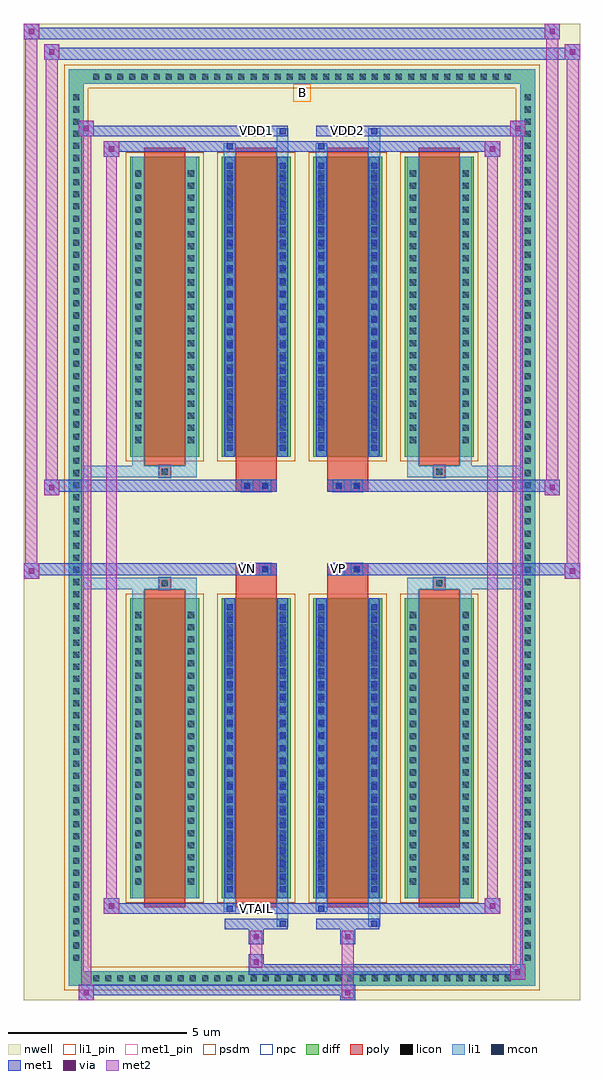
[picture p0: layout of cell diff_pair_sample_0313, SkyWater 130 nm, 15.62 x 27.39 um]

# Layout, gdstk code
import gdstk
lib = gdstk.Library(unit=1e-6, precision=5e-09)
def R(c, l, rs):  # rectangles x0, y0, x1, y1
    for r in rs: c.add(gdstk.rectangle(r[:2], r[2:], *l))
def A(c, l, x, y, w, h, nx, ny, dx, dy):  # array of equal rectangles
    R(c, l, [(x+i*dx, y+j*dy, x+i*dx+w, y+j*dy+h) for i in range(nx) for j in range(ny)])
def P(c, l, *ps):  # polygons
    for p in ps: c.add(gdstk.Polygon(p, *l))
nwell = (64, 20)
diff = (65, 20)
poly = (66, 20)
licon = (66, 44)
li1_pin = (67, 16)
li1 = (67, 20)
mcon = (67, 44)
met1_pin = (68, 16)
met1 = (68, 20)
via = (68, 44)
met2 = (69, 20)
psdm = (94, 20)
npc = (95, 20)

diff_pair_sample_0313 = lib.new_cell('diff_pair_sample_0313')
R(diff_pair_sample_0313, nwell, [(-7.81,-13.26,7.81,14.13), (-5.13,-11.45,-0.01,-0.805), (0.01,-11.45,5.13,-0.805), (-5.13,0.805,-0.01,11.45), (0.01,0.805,5.13,11.45)])
A(diff_pair_sample_0313, diff, -5.985, -12.86, 0.41, 0.41, 35, 2, 0.34, 25.31)
A(diff_pair_sample_0313, diff, -6.54, -12.275, 0.41, 0.41, 1, 72, 0, 0.34)
A(diff_pair_sample_0313, diff, 6.13, -12.275, 0.41, 0.41, 1, 72, 0, 0.34)
A(diff_pair_sample_0313, diff, -4.82, -10.405, 1.93, 8.42, 4, 2, 2.57, 12.39)
R(diff_pair_sample_0313, diff, [(-5.985,-12.86,5.985,-12.45), (-6.54,-12.275,-6.13,12.275), (6.13,-12.275,6.54,12.275), (-5.985,12.45,5.985,12.86)])
P(diff_pair_sample_0313, diff, [(6.54,12.86),(-6.54,12.86),(-6.54,-12.45),(-6.13,-12.45),(-6.13,12.45),(6.13,12.45),(6.13,-12.45),(-6.13,-12.45),(-6.54,-12.45),(-6.54,-12.86),(6.54,-12.86)])
A(diff_pair_sample_0313, poly, -4.43, -10.655, 1.15, 8.92, 4, 2, 2.57, 12.39)
R(diff_pair_sample_0313, poly, [(-4.02,-1.735,-3.69,-1.405), (-4.02,-1.735,-3.69,-1.405), (-1.86,-1.735,-0.71,-1.335), (0.71,-1.735,1.86,-1.335), (3.69,-1.735,4.02,-1.405), (3.69,-1.735,4.02,-1.405), (-1.86,-1.335,-0.71,-1.005), (-1.7,-1.335,-1.37,-1.005), (-1.2,-1.335,-0.87,-1.005), (0.71,-1.335,1.86,-1.005), (0.87,-1.335,1.2,-1.005), (1.37,-1.335,1.7,-1.005), (-1.86,1.005,-0.71,1.335), (-1.7,1.005,-1.37,1.335), (-1.2,1.005,-0.87,1.335), (0.71,1.005,1.86,1.335), (0.87,1.005,1.2,1.335), (1.37,1.005,1.7,1.335), (-1.86,1.335,-0.71,1.735), (0.71,1.335,1.86,1.735), (-4.02,1.405,-3.69,1.735), (-4.02,1.405,-3.69,1.735), (3.69,1.405,4.02,1.735), (3.69,1.405,4.02,1.735)])
A(diff_pair_sample_0313, licon, -5.865, -12.74, 0.17, 0.17, 35, 2, 0.34, 25.31)
A(diff_pair_sample_0313, licon, -6.42, -12.155, 0.17, 0.17, 1, 72, 0, 0.34)
A(diff_pair_sample_0313, licon, 6.25, -12.155, 0.17, 0.17, 1, 72, 0, 0.34)
A(diff_pair_sample_0313, licon, -4.68, -10.02, 0.17, 0.17, 1, 23, 0, 0.34)
A(diff_pair_sample_0313, licon, -3.2, -10.02, 0.17, 0.17, 1, 23, 0, 0.34)
A(diff_pair_sample_0313, licon, -2.11, -10.02, 0.17, 0.17, 1, 23, 0, 0.34)
A(diff_pair_sample_0313, licon, -0.63, -10.02, 0.17, 0.17, 1, 23, 0, 0.34)
A(diff_pair_sample_0313, licon, 0.46, -10.02, 0.17, 0.17, 1, 23, 0, 0.34)
A(diff_pair_sample_0313, licon, 1.94, -10.02, 0.17, 0.17, 1, 23, 0, 0.34)
A(diff_pair_sample_0313, licon, 3.03, -10.02, 0.17, 0.17, 1, 23, 0, 0.34)
A(diff_pair_sample_0313, licon, 4.51, -10.02, 0.17, 0.17, 1, 23, 0, 0.34)
A(diff_pair_sample_0313, licon, -4.68, 2.37, 0.17, 0.17, 1, 23, 0, 0.34)
A(diff_pair_sample_0313, licon, -3.2, 2.37, 0.17, 0.17, 1, 23, 0, 0.34)
A(diff_pair_sample_0313, licon, -2.11, 2.37, 0.17, 0.17, 1, 23, 0, 0.34)
A(diff_pair_sample_0313, licon, -0.63, 2.37, 0.17, 0.17, 1, 23, 0, 0.34)
A(diff_pair_sample_0313, licon, 0.46, 2.37, 0.17, 0.17, 1, 23, 0, 0.34)
A(diff_pair_sample_0313, licon, 1.94, 2.37, 0.17, 0.17, 1, 23, 0, 0.34)
A(diff_pair_sample_0313, licon, 3.03, 2.37, 0.17, 0.17, 1, 23, 0, 0.34)
A(diff_pair_sample_0313, licon, 4.51, 2.37, 0.17, 0.17, 1, 23, 0, 0.34)
R(diff_pair_sample_0313, licon, [(-3.94,-1.655,-3.77,-1.485), (3.77,-1.655,3.94,-1.485), (-1.62,-1.255,-1.45,-1.085), (-1.12,-1.255,-0.95,-1.085), (0.95,-1.255,1.12,-1.085), (1.45,-1.255,1.62,-1.085), (-1.62,1.085,-1.45,1.255), (-1.12,1.085,-0.95,1.255), (0.95,1.085,1.12,1.255), (1.45,1.085,1.62,1.255), (-3.94,1.485,-3.77,1.655), (3.77,1.485,3.94,1.655)])
R(diff_pair_sample_0313, li1_pin, [(-0.25,11.95,0.25,12.45)])
A(diff_pair_sample_0313, li1, -5.945, -12.82, 0.33, 0.33, 35, 2, 0.34, 25.31)
A(diff_pair_sample_0313, li1, -6.5, -12.235, 0.33, 0.33, 1, 72, 0, 0.34)
A(diff_pair_sample_0313, li1, 6.17, -12.235, 0.33, 0.33, 1, 72, 0, 0.34)
A(diff_pair_sample_0313, li1, -2.11, -10.24, 0.17, 0.17, 1, 23, 0, 0.36)
A(diff_pair_sample_0313, li1, -0.63, -10.24, 0.17, 0.17, 1, 23, 0, 0.36)
A(diff_pair_sample_0313, li1, 0.46, -10.24, 0.17, 0.17, 1, 23, 0, 0.36)
A(diff_pair_sample_0313, li1, 1.94, -10.24, 0.17, 0.17, 1, 23, 0, 0.36)
A(diff_pair_sample_0313, li1, -4.76, -10.1, 0.33, 0.33, 1, 23, 0, 0.34)
A(diff_pair_sample_0313, li1, -3.28, -10.1, 0.33, 0.33, 1, 23, 0, 0.34)
A(diff_pair_sample_0313, li1, -2.19, -10.1, 0.33, 0.33, 1, 23, 0, 0.34)
A(diff_pair_sample_0313, li1, -0.71, -10.1, 0.33, 0.33, 1, 23, 0, 0.34)
A(diff_pair_sample_0313, li1, 0.38, -10.1, 0.33, 0.33, 1, 23, 0, 0.34)
A(diff_pair_sample_0313, li1, 1.86, -10.1, 0.33, 0.33, 1, 23, 0, 0.34)
A(diff_pair_sample_0313, li1, 2.95, -10.1, 0.33, 0.33, 1, 23, 0, 0.34)
A(diff_pair_sample_0313, li1, 4.43, -10.1, 0.33, 0.33, 1, 23, 0, 0.34)
A(diff_pair_sample_0313, li1, -2.11, 2.15, 0.17, 0.17, 1, 23, 0, 0.36)
A(diff_pair_sample_0313, li1, -0.63, 2.15, 0.17, 0.17, 1, 23, 0, 0.36)
A(diff_pair_sample_0313, li1, 0.46, 2.15, 0.17, 0.17, 1, 23, 0, 0.36)
A(diff_pair_sample_0313, li1, 1.94, 2.15, 0.17, 0.17, 1, 23, 0, 0.36)
A(diff_pair_sample_0313, li1, -4.76, 2.29, 0.33, 0.33, 1, 23, 0, 0.34)
A(diff_pair_sample_0313, li1, -3.28, 2.29, 0.33, 0.33, 1, 23, 0, 0.34)
A(diff_pair_sample_0313, li1, -2.19, 2.29, 0.33, 0.33, 1, 23, 0, 0.34)
A(diff_pair_sample_0313, li1, -0.71, 2.29, 0.33, 0.33, 1, 23, 0, 0.34)
A(diff_pair_sample_0313, li1, 0.38, 2.29, 0.33, 0.33, 1, 23, 0, 0.34)
A(diff_pair_sample_0313, li1, 1.86, 2.29, 0.33, 0.33, 1, 23, 0, 0.34)
A(diff_pair_sample_0313, li1, 2.95, 2.29, 0.33, 0.33, 1, 23, 0, 0.34)
A(diff_pair_sample_0313, li1, 4.43, 2.29, 0.33, 0.33, 1, 23, 0, 0.34)
R(diff_pair_sample_0313, li1, [(-6.54,-12.86,-6.13,-12.45), (-6.54,-12.86,-6.13,-12.45), (-6.13,-12.86,6.13,-12.45), (6.13,-12.86,6.54,-12.45), (6.13,-12.86,6.54,-12.45), (-6.54,-12.45,-6.13,12.45), (6.13,-12.45,6.54,12.45), (-0.71,-11.21,-0.38,-10.405), (-0.63,-11.21,-0.46,-11.04), (1.86,-11.21,2.19,-10.405), (1.94,-11.21,2.11,-11.04), (-2.19,-10.78,-1.86,-10.405), (-2.11,-10.78,-1.94,-10.61), (0.38,-10.78,0.71,-10.405), (0.46,-10.78,0.63,-10.61), (-4.76,-10.405,-4.43,-1.985), (-3.28,-10.405,-2.95,-1.985), (-2.19,-10.405,-1.86,-1.985), (-0.71,-10.405,-0.38,-1.985), (0.38,-10.405,0.71,-1.985), (1.86,-10.405,2.19,-1.985), (2.95,-10.405,3.28,-1.985), (4.43,-10.405,4.76,-1.985), (-2.11,-10.24,-1.94,-2.15), (-0.63,-10.24,-0.46,-2.15), (0.46,-10.24,0.63,-2.15), (1.94,-10.24,2.11,-2.15), (-4.76,-1.985,-4.43,-1.405), (-3.28,-1.985,-2.95,-1.405), (2.95,-1.985,3.28,-1.405), (4.43,-1.985,4.76,-1.405), (-6.54,-1.735,-4.02,-1.405), (-4.76,-1.735,-4.02,-1.405), (-4.02,-1.735,-3.69,-1.405), (-3.69,-1.735,-2.95,-1.405), (2.95,-1.735,3.69,-1.405), (3.69,-1.735,4.02,-1.405), (3.69,-1.735,6.54,-1.405), (4.02,-1.735,4.76,-1.405), (-1.7,-1.335,-1.37,-1.005), (-1.2,-1.335,-0.87,-1.005), (0.87,-1.335,1.2,-1.005), (1.37,-1.335,1.7,-1.005), (-1.7,1.005,-1.37,1.335), (-1.2,1.005,-0.87,1.335), (0.87,1.005,1.2,1.335), (1.37,1.005,1.7,1.335), (-6.54,1.405,-4.02,1.735), (-4.76,1.405,-4.02,1.735), (-4.76,1.405,-4.43,1.985), (-4.02,1.405,-3.69,1.735), (-3.69,1.405,-2.95,1.735), (-3.28,1.405,-2.95,1.985), (2.95,1.405,3.69,1.735), (2.95,1.405,3.28,1.985), (3.69,1.405,4.02,1.735), (3.69,1.405,6.54,1.735), (4.02,1.405,4.76,1.735), (4.43,1.405,4.76,1.985), (-4.76,1.985,-4.43,10.405), (-3.28,1.985,-2.95,10.405), (-2.19,1.985,-1.86,10.405), (-0.71,1.985,-0.38,10.405), (0.38,1.985,0.71,10.405), (1.86,1.985,2.19,10.405), (2.95,1.985,3.28,10.405), (4.43,1.985,4.76,10.405), (-2.11,2.15,-1.94,10.24), (-0.63,2.15,-0.46,10.24), (0.46,2.15,0.63,10.24), (1.94,2.15,2.11,10.24), (-2.19,10.405,-1.86,10.78), (-0.71,10.405,-0.38,11.21), (0.38,10.405,0.71,10.78), (1.86,10.405,2.19,11.21), (-2.11,10.61,-1.94,10.78), (0.46,10.61,0.63,10.78), (-0.63,11.04,-0.46,11.21), (1.94,11.04,2.11,11.21), (-6.54,12.45,-6.13,12.86), (-6.54,12.45,-6.13,12.86), (-6.13,12.45,6.13,12.86), (6.13,12.45,6.54,12.86), (6.13,12.45,6.54,12.86)])
A(diff_pair_sample_0313, mcon, -2.11, -10.24, 0.17, 0.17, 1, 23, 0, 0.36)
A(diff_pair_sample_0313, mcon, -0.63, -10.24, 0.17, 0.17, 1, 23, 0, 0.36)
A(diff_pair_sample_0313, mcon, 0.46, -10.24, 0.17, 0.17, 1, 23, 0, 0.36)
A(diff_pair_sample_0313, mcon, 1.94, -10.24, 0.17, 0.17, 1, 23, 0, 0.36)
A(diff_pair_sample_0313, mcon, -2.11, 2.15, 0.17, 0.17, 1, 23, 0, 0.36)
A(diff_pair_sample_0313, mcon, -0.63, 2.15, 0.17, 0.17, 1, 23, 0, 0.36)
A(diff_pair_sample_0313, mcon, 0.46, 2.15, 0.17, 0.17, 1, 23, 0, 0.36)
A(diff_pair_sample_0313, mcon, 1.94, 2.15, 0.17, 0.17, 1, 23, 0, 0.36)
R(diff_pair_sample_0313, mcon, [(-0.63,-11.21,-0.46,-11.04), (1.94,-11.21,2.11,-11.04), (-2.11,-10.78,-1.94,-10.61), (0.46,-10.78,0.63,-10.61), (-1.62,-1.255,-1.45,-1.085), (-1.12,-1.255,-0.95,-1.085), (0.95,-1.255,1.12,-1.085), (1.45,-1.255,1.62,-1.085), (-1.62,1.085,-1.45,1.255), (-1.12,1.085,-0.95,1.255), (0.95,1.085,1.12,1.255), (1.45,1.085,1.62,1.255), (-2.11,10.61,-1.94,10.78), (0.46,10.61,0.63,10.78), (-0.63,11.04,-0.46,11.21), (1.94,11.04,2.11,11.21)])
R(diff_pair_sample_0313, met1_pin, [(-1.42,-10.82,-1.15,-10.55), (-1.67,-1.295,-1.4,-1.025), (0.9,-1.295,1.17,-1.025), (-1.42,11,-1.15,11.27), (1.15,11,1.42,11.27)])
A(diff_pair_sample_0313, met1, -2.17, -10.3, 0.29, 0.29, 1, 23, 0, 0.36)
A(diff_pair_sample_0313, met1, -0.69, -10.3, 0.29, 0.29, 1, 23, 0, 0.36)
A(diff_pair_sample_0313, met1, 0.4, -10.3, 0.29, 0.29, 1, 23, 0, 0.36)
A(diff_pair_sample_0313, met1, 1.88, -10.3, 0.29, 0.29, 1, 23, 0, 0.36)
A(diff_pair_sample_0313, met1, -2.17, 2.09, 0.29, 0.29, 1, 23, 0, 0.36)
A(diff_pair_sample_0313, met1, -0.69, 2.09, 0.29, 0.29, 1, 23, 0, 0.36)
A(diff_pair_sample_0313, met1, 0.4, 2.09, 0.29, 0.29, 1, 23, 0, 0.36)
A(diff_pair_sample_0313, met1, 1.88, 2.09, 0.29, 0.29, 1, 23, 0, 0.36)
R(diff_pair_sample_0313, met1, [(-6.27,-13.26,-5.84,-12.83), (1.07,-13.26,1.5,-12.83), (-6.27,-13.12,1.5,-12.83), (5.84,-12.69,6.27,-12.26), (-1.5,-12.55,6.27,-12.26), (-1.5,-12.41,-1.07,-11.98), (-1.5,-11.7,-1.07,-11.27), (1.07,-11.7,1.5,-11.27), (-2.17,-11.27,-0.4,-10.98), (-0.69,-11.27,-0.4,-10.98), (0.4,-11.27,2.17,-10.98), (1.88,-11.27,2.17,-10.98), (-5.56,-10.84,-5.13,-10.41), (-5.56,-10.84,-2.17,-10.55), (-2.17,-10.84,-1.88,-10.55), (-2.17,-10.84,-0.4,-10.55), (-0.4,-10.84,0.4,-10.55), (0.4,-10.84,0.69,-10.55), (0.4,-10.84,2.17,-10.55), (2.17,-10.84,5.56,-10.55), (5.13,-10.84,5.56,-10.41), (-2.17,-10.405,-1.88,-1.985), (-0.69,-10.405,-0.4,-1.985), (0.4,-10.405,0.69,-1.985), (1.88,-10.405,2.17,-1.985), (-7.81,-1.435,-7.38,-1.005), (7.38,-1.435,7.81,-1.005), (-7.81,-1.335,-0.71,-1.005), (-1.86,-1.335,-0.71,-1.005), (0.71,-1.335,1.86,-1.005), (0.71,-1.335,7.81,-1.005), (-1.68,-1.315,-1.39,-1.025), (-1.18,-1.315,-0.89,-1.025), (0.89,-1.315,1.18,-1.025), (1.39,-1.315,1.68,-1.025), (-7.24,0.905,-6.81,1.335), (6.81,0.905,7.24,1.335), (-7.24,1.005,-1.86,1.335), (-1.86,1.005,-0.71,1.335), (0.71,1.005,1.86,1.335), (1.86,1.005,7.24,1.335), (-1.68,1.025,-1.39,1.315), (-1.18,1.025,-0.89,1.315), (0.89,1.025,1.18,1.315), (1.39,1.025,1.68,1.315), (-2.17,1.985,-1.88,10.405), (-0.69,1.985,-0.4,10.405), (0.4,1.985,0.69,10.405), (1.88,1.985,2.17,10.405), (-5.56,10.41,-5.13,10.84), (5.13,10.41,5.56,10.84), (-5.56,10.55,-2.17,10.84), (-2.17,10.55,-1.88,10.84), (-2.17,10.55,-0.4,10.84), (-0.4,10.55,0.4,10.84), (0.4,10.55,0.69,10.84), (0.4,10.55,2.17,10.84), (2.17,10.55,5.56,10.84), (-6.27,10.98,-5.84,11.41), (-6.27,10.98,-2.17,11.27), (-2.17,10.98,-0.4,11.27), (-0.69,10.98,-0.4,11.27), (0.4,10.98,2.17,11.27), (1.88,10.98,2.17,11.27), (2.17,10.98,6.27,11.27), (5.84,10.98,6.27,11.41), (-7.24,13.13,-6.81,13.56), (-7.24,13.13,-5.13,13.46), (-5.13,13.13,5.13,13.46), (5.13,13.13,7.81,13.46), (7.38,13.13,7.81,13.56), (-7.81,13.7,-7.38,14.13), (-7.81,13.7,-5.13,14.03), (-5.13,13.7,5.13,14.03), (5.13,13.7,7.24,14.03), (6.81,13.7,7.24,14.13)])
R(diff_pair_sample_0313, via, [(-6.13,-13.12,-5.98,-12.97), (1.21,-13.12,1.36,-12.97), (5.98,-12.55,6.13,-12.4), (-1.36,-12.27,-1.21,-12.12), (-1.36,-11.56,-1.21,-11.41), (1.21,-11.56,1.36,-11.41), (-5.42,-10.7,-5.27,-10.55), (5.27,-10.7,5.42,-10.55), (-7.67,-1.295,-7.52,-1.145), (7.52,-1.295,7.67,-1.145), (-7.1,1.045,-6.95,1.195), (6.95,1.045,7.1,1.195), (-5.42,10.55,-5.27,10.7), (5.27,10.55,5.42,10.7), (-6.13,11.12,-5.98,11.27), (5.98,11.12,6.13,11.27), (-7.1,13.27,-6.95,13.42), (7.52,13.27,7.67,13.42), (-7.67,13.84,-7.52,13.99), (6.95,13.84,7.1,13.99)])
R(diff_pair_sample_0313, met2, [(-6.27,-13.26,-5.84,-12.83), (-6.2,-13.26,-5.91,11.41), (-5.91,-13.26,-5.84,-12.83), (-6.22,-13.21,-5.89,-12.88), (1.12,-13.21,1.45,-12.88), (1.12,-12.88,1.45,-11.65), (5.84,-12.69,6.27,-12.26), (5.91,-12.69,6.2,11.41), (6.2,-12.69,6.27,-12.26), (5.89,-12.64,6.22,-12.31), (-1.45,-12.36,-1.12,-12.03), (-1.45,-12.03,-1.12,-11.65), (-1.45,-11.65,-1.12,-11.32), (1.12,-11.65,1.45,-11.32), (-5.56,-10.84,-5.13,-10.41), (-5.49,-10.84,-5.2,10.84), (-5.2,-10.84,-5.13,-10.41), (5.13,-10.84,5.56,-10.41), (5.2,-10.84,5.49,10.84), (5.49,-10.84,5.56,-10.41), (-5.51,-10.79,-5.18,-10.46), (5.18,-10.79,5.51,-10.46), (-7.81,-1.435,-7.38,-1.005), (-7.76,-1.435,-7.43,14.13), (-7.43,-1.435,-7.38,-1.005), (7.38,-1.435,7.81,-1.005), (7.43,-1.435,7.76,13.56), (7.76,-1.435,7.81,-1.005), (-7.76,-1.385,-7.43,-1.055), (7.43,-1.385,7.76,-1.055), (-7.24,0.905,-6.81,1.335), (-7.19,0.905,-6.86,13.56), (-6.86,0.905,-6.81,1.335), (6.81,0.905,7.24,1.335), (6.86,0.905,7.19,14.13), (7.19,0.905,7.24,1.335), (-7.19,0.955,-6.86,1.285), (6.86,0.955,7.19,1.285), (-5.56,10.41,-5.13,10.84), (-5.2,10.41,-5.13,10.84), (5.13,10.41,5.56,10.84), (5.49,10.41,5.56,10.84), (-5.51,10.46,-5.18,10.79), (5.18,10.46,5.51,10.79), (-6.27,10.98,-5.84,11.41), (-5.91,10.98,-5.84,11.41), (5.84,10.98,6.27,11.41), (6.2,10.98,6.27,11.41), (-6.22,11.03,-5.89,11.36), (5.89,11.03,6.22,11.36), (-7.24,13.13,-6.81,13.56), (-6.86,13.13,-6.81,13.56), (7.38,13.13,7.81,13.56), (7.76,13.13,7.81,13.56), (-7.19,13.18,-6.86,13.51), (7.43,13.18,7.76,13.51), (-7.81,13.7,-7.38,14.13), (-7.43,13.7,-7.38,14.13), (6.81,13.7,7.24,14.13), (7.19,13.7,7.24,14.13), (-7.76,13.75,-7.43,14.08), (6.86,13.75,7.19,14.08)])
A(diff_pair_sample_0313, psdm, -4.95, -10.535, 2.19, 8.68, 4, 2, 2.57, 12.39)
P(diff_pair_sample_0313, psdm, [(6.67,12.99),(-6.67,12.99),(-6.67,-12.32),(-6,-12.32),(-6,12.32),(6,12.32),(6,-12.32),(-6,-12.32),(-6.67,-12.32),(-6.67,-12.99),(6.67,-12.99)])
R(diff_pair_sample_0313, npc, [(-4.04,-1.755,-3.67,-1.385), (3.67,-1.755,4.04,-1.385), (-1.72,-1.355,-1.35,-0.985), (-1.72,-1.355,-0.85,-0.985), (-1.72,-1.355,-0.85,-0.985), (-1.22,-1.355,-0.85,-0.985), (0.85,-1.355,1.22,-0.985), (0.85,-1.355,1.72,-0.985), (0.85,-1.355,1.72,-0.985), (1.35,-1.355,1.72,-0.985), (-1.72,0.985,-1.35,1.355), (-1.72,0.985,-0.85,1.355), (-1.72,0.985,-0.85,1.355), (-1.22,0.985,-0.85,1.355), (0.85,0.985,1.22,1.355), (0.85,0.985,1.72,1.355), (0.85,0.985,1.72,1.355), (1.35,0.985,1.72,1.355), (-4.04,1.385,-3.67,1.755), (3.67,1.385,4.04,1.755)])
diff_pair_sample_0313.add(gdstk.Label('VTAIL', (-1.285,-10.685), layer=68, texttype=5))
diff_pair_sample_0313.add(gdstk.Label('VN', (-1.535,-1.16), layer=68, texttype=5))
diff_pair_sample_0313.add(gdstk.Label('VP', (1.035,-1.16), layer=68, texttype=5))
diff_pair_sample_0313.add(gdstk.Label('B', (0,12.2), layer=67, texttype=5))
diff_pair_sample_0313.add(gdstk.Label('VDD2', (1.285,11.135), layer=68, texttype=5))
diff_pair_sample_0313.add(gdstk.Label('VDD1', (-1.285,11.135), layer=68, texttype=5))

lib.write_gds('diff_pair_sample_0313.gds')
